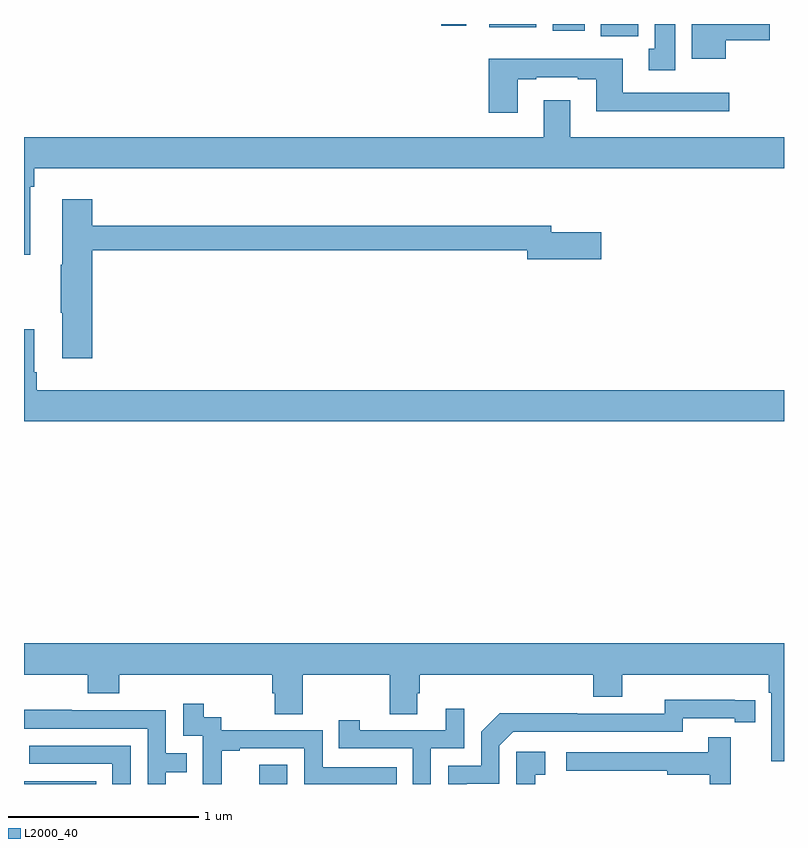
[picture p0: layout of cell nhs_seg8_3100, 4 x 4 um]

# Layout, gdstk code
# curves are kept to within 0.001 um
import gdstk
lib = gdstk.Library(unit=1e-6, precision=1e-09)
def R(c, l, rs):  # rectangles x0, y0, x1, y1
    for r in rs: c.add(gdstk.rectangle(r[:2], r[2:], *l))
def P(c, l, *ps):  # polygons
    for p in ps: c.add(gdstk.Polygon(p, *l))
L2000_40 = (2000, 40)

nhs_seg8_3100 = lib.new_cell('nhs_seg8_3100')
R(nhs_seg8_3100, L2000_40, [(303,1139.9,303.38,1139.914), (304.239,1139.9,304.386,1140.001), (306.035,1143.836,306.232,1143.9), (305.783,1143.864,305.95,1143.9), (305.448,1143.884,305.695,1143.9), (305.196,1143.89,305.328,1143.9)])
P(nhs_seg8_3100, L2000_40, [(306.694,1143.815),(306.925,1143.815),(306.925,1143.9),(306.515,1143.9),(306.515,1143.716),(306.694,1143.716)],
  [(306.427,1143.9),(306.32,1143.9),(306.32,1143.77),(306.287,1143.77),(306.287,1143.657),(306.427,1143.657)],
  [(305.599,1143.609),(305.695,1143.609),(305.695,1143.621),(305.915,1143.621),(305.915,1143.609),(306.011,1143.609),(306.011,1143.44),(306.712,1143.44),(306.712,1143.537),(306.151,1143.537),(306.151,1143.718),(305.447,1143.718),(305.447,1143.432),(305.599,1143.432)],
  [(303.034,1143.044),(303.053,1143.044),(303.053,1143.14),(307,1143.14),(307,1143.304),(305.875,1143.304),(305.875,1143.499),(305.735,1143.499),(305.735,1143.304),(303,1143.304),(303,1142.685),(303.034,1142.685)],
  [(303.359,1142.71),(305.648,1142.71),(305.648,1142.663),(306.037,1142.663),(306.037,1142.805),(305.776,1142.805),(305.776,1142.839),(303.359,1142.839),(303.359,1142.977),(303.2,1142.977),(303.2,1142.633),(303.193,1142.633),(303.193,1142.38),(303.2,1142.38),(303.2,1142.142),(303.359,1142.142)],
  [(307,1141.972),(303.068,1141.972),(303.068,1142.068),(303.055,1142.068),(303.055,1142.293),(303,1142.293),(303,1141.808),(307,1141.808)],
  [(307,1140.64),(303,1140.64),(303,1140.476),(303.335,1140.476),(303.335,1140.377),(303.5,1140.377),(303.5,1140.476),(304.307,1140.476),(304.307,1140.378),(304.319,1140.378),(304.319,1140.268),(304.467,1140.268),(304.467,1140.476),(304.924,1140.476),(304.924,1140.268),(305.071,1140.268),(305.071,1140.378),(305.084,1140.378),(305.084,1140.476),(305.996,1140.476),(305.996,1140.359),(306.148,1140.359),(306.148,1140.476),(306.92,1140.476),(306.92,1140.38),(306.933,1140.38),(306.933,1140.021),(307,1140.021)],
  [(305.329,1139.901),(305.502,1139.901),(305.502,1140.102),(305.574,1140.174),(306.468,1140.174),(306.468,1140.246),(306.74,1140.246),(306.74,1140.226),(306.848,1140.226),(306.848,1140.342),(306.372,1140.343),(306.372,1140.27),(305.912,1140.27),(305.912,1140.272),(305.504,1140.272),(305.406,1140.174),(305.406,1139.997),(305.232,1139.997),(305.232,1139.9)],
  [(304.04,1140.075),(304.135,1140.075),(304.135,1140.087),(304.476,1140.087),(304.476,1139.9),(304.961,1139.9),(304.961,1139.988),(304.572,1139.988),(304.572,1140.183),(304.038,1140.183),(304.038,1140.252),(303.946,1140.252),(303.946,1140.322),(303.837,1140.322),(303.837,1140.153),(303.942,1140.153),(303.942,1139.924),(303.941,1139.924),(303.941,1139.9),(304.04,1139.9)],
  [(305.142,1140.087),(305.316,1140.087),(305.316,1140.295),(305.219,1140.295),(305.219,1140.183),(304.768,1140.183),(304.768,1140.235),(304.657,1140.235),(304.657,1140.087),(305.046,1140.087),(305.046,1139.9),(305.142,1139.9)],
  [(303.747,1139.962),(303.857,1139.962),(303.857,1140.063),(303.747,1140.063),(303.747,1140.288),(303.251,1140.288),(303.251,1140.29),(303,1140.29),(303,1140.192),(303.651,1140.192),(303.651,1139.9),(303.747,1139.9)],
  [(306.719,1140.145),(306.601,1140.145),(306.601,1140.066),(305.853,1140.066),(305.853,1139.97),(306.385,1139.97),(306.385,1139.95),(306.609,1139.95),(306.609,1139.9),(306.719,1139.9)],
  [(303.561,1140.102),(303.027,1140.102),(303.027,1140.006),(303.465,1140.006),(303.465,1139.9),(303.561,1139.9)],
  [(305.69,1139.949),(305.743,1139.949),(305.743,1140.07),(305.592,1140.07),(305.592,1139.9),(305.69,1139.9)])

lib.write_gds('nhs_seg8_3100.gds')
